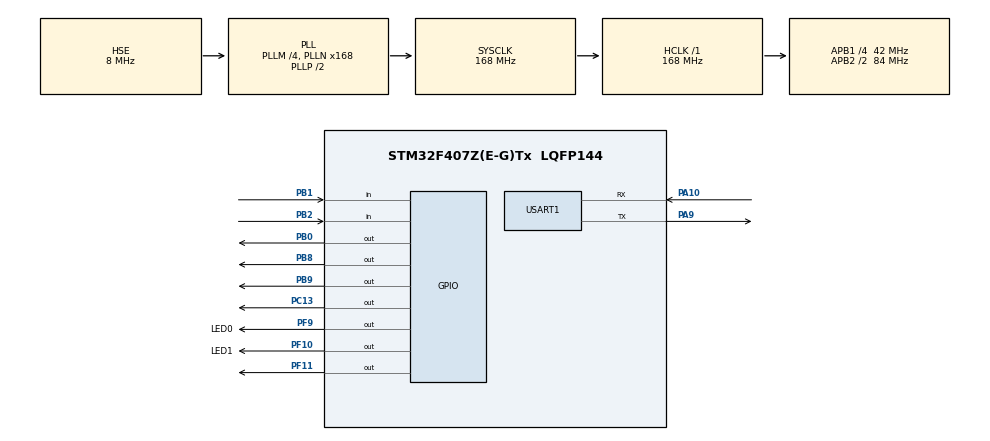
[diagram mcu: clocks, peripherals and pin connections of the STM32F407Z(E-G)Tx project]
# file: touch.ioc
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Dma.Request0=USART1_RX
Dma.Request1=USART1_TX
Dma.USART1_RX.0.Direction=DMA_PERIPH_TO_MEMORY
Dma.USART1_RX.0.FIFOMode=DMA_FIFOMODE_DISABLE
Dma.USART1_RX.0.Instance=DMA2_Stream2
Dma.USART1_RX.0.MemDataAlignment=DMA_MDATAALIGN_BYTE
Dma.USART1_RX.0.MemInc=DMA_MINC_ENABLE
Dma.USART1_RX.0.Mode=DMA_NORMAL
Dma.USART1_RX.0.PeriphDataAlignment=DMA_PDATAALIGN_BYTE
Dma.USART1_RX.0.PeriphInc=DMA_PINC_DISABLE
Dma.USART1_RX.0.Priority=DMA_PRIORITY_LOW
Dma.USART1_TX.1.Direction=DMA_MEMORY_TO_PERIPH
Dma.USART1_TX.1.FIFOMode=DMA_FIFOMODE_DISABLE
Dma.USART1_TX.1.Instance=DMA2_Stream7
Dma.USART1_TX.1.MemDataAlignment=DMA_MDATAALIGN_BYTE
Dma.USART1_TX.1.MemInc=DMA_MINC_ENABLE
Dma.USART1_TX.1.Mode=DMA_NORMAL
Dma.USART1_TX.1.PeriphDataAlignment=DMA_PDATAALIGN_BYTE
Dma.USART1_TX.1.PeriphInc=DMA_PINC_DISABLE
Dma.USART1_TX.1.Priority=DMA_PRIORITY_LOW
Mcu.Family=STM32F4
Mcu.Name=STM32F407Z(E-G)Tx
Mcu.Package=LQFP144
NVIC.DMA2_Stream2_IRQn=true\:0\:0\:false\:false\:true\:false\:true
NVIC.DMA2_Stream7_IRQn=true\:0\:0\:false\:false\:true\:false\:true
NVIC.PriorityGroup=NVIC_PRIORITYGROUP_4
NVIC.USART1_IRQn=true\:0\:0\:false\:false\:true\:true\:true
PA10.Mode=Asynchronous
PA10.Signal=USART1_RX
PA13.Mode=Serial_Wire
PA13.Signal=SYS_JTMS-SWDIO
PA14.Mode=Serial_Wire
PA14.Signal=SYS_JTCK-SWCLK
PA9.Mode=Asynchronous
PA9.Signal=USART1_TX
PB0.GPIO_PuPd=GPIO_PULLUP
PB0.GPIO_Speed=GPIO_SPEED_FREQ_VERY_HIGH
PB0.PinState=GPIO_PIN_SET
PB0.Signal=GPIO_Output
PB1.GPIO_Mode=GPIO_MODE_INPUT
PB1.GPIO_PuPd=GPIO_PULLUP
PB1.Signal=GPIO_Input
PB2.GPIO_Mode=GPIO_MODE_INPUT
PB2.GPIO_PuPd=GPIO_PULLUP
PB2.Signal=GPIO_Input
PB8.GPIO_ModeDefaultOutputPP=GPIO_MODE_OUTPUT_PP
PB8.GPIO_PuPd=GPIO_PULLUP
PB8.PinState=GPIO_PIN_SET
PB8.Signal=GPIO_Output
PB9.GPIO_ModeDefaultOutputPP=GPIO_MODE_OUTPUT_PP
PB9.GPIO_PuPd=GPIO_PULLUP
PB9.PinState=GPIO_PIN_SET
PB9.Signal=GPIO_Output
PC13-ANTI_TAMP.GPIO_PuPd=GPIO_PULLUP
PC13-ANTI_TAMP.PinState=GPIO_PIN_SET
PC13-ANTI_TAMP.Signal=GPIO_Output
PF10.GPIO_Label=LED1
PF10.GPIO_ModeDefaultOutputPP=GPIO_MODE_OUTPUT_PP
PF10.GPIO_PuPd=GPIO_PULLUP
PF10.PinState=GPIO_PIN_SET
PF10.Signal=GPIO_Output
PF11.GPIO_PuPd=GPIO_PULLUP
PF11.GPIO_Speed=GPIO_SPEED_FREQ_VERY_HIGH
PF11.PinState=GPIO_PIN_SET
PF11.Signal=GPIO_Output
PF9.GPIO_Label=LED0
PF9.GPIO_ModeDefaultOutputPP=GPIO_MODE_OUTPUT_PP
PF9.GPIO_PuPd=GPIO_PULLUP
PF9.PinState=GPIO_PIN_SET
PF9.Signal=GPIO_Output
PH0-OSC_IN.Mode=HSE-External-Oscillator
PH0-OSC_IN.Signal=RCC_OSC_IN
PH1-OSC_OUT.Mode=HSE-External-Oscillator
PH1-OSC_OUT.Signal=RCC_OSC_OUT
ProjectManager.HeapSize=0x200
ProjectManager.StackSize=0x400
ProjectManager.TargetToolchain=MDK-ARM V5.32
RCC.48MHZClocksFreq_Value=84000000
RCC.AHBFreq_Value=168000000
RCC.APB1CLKDivider=RCC_HCLK_DIV4
RCC.APB1Freq_Value=42000000
RCC.APB1TimFreq_Value=84000000
RCC.APB2CLKDivider=RCC_HCLK_DIV2
RCC.APB2Freq_Value=84000000
RCC.APB2TimFreq_Value=168000000
RCC.CortexFreq_Value=168000000
RCC.HCLKFreq_Value=168000000
RCC.HSE_VALUE=8000000
RCC.HSI_VALUE=16000000
RCC.LSE_VALUE=32768
RCC.PLLM=4
RCC.PLLN=168
RCC.PLLSourceVirtual=RCC_PLLSOURCE_HSE
RCC.SYSCLKFreq_VALUE=168000000
RCC.SYSCLKSource=RCC_SYSCLKSOURCE_PLLCLK
RCC.VCOOutputFreq_Value=336000000
USART1.VirtualMode=VM_ASYNC
board=custom

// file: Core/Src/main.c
/* USER CODE BEGIN Header */
/**
  ******************************************************************************
  * @file           : main.c
  * @brief          : Main program body
  ******************************************************************************
  * @attention
  *
  * Copyright (c) 2022 STMicroelectronics.
  * All rights reserved.
  *
  * This software is licensed under terms that can be found in the LICENSE file
  * in the root directory of this software component.
  * If no LICENSE file comes with this software, it is provided AS-IS.
  *
  ******************************************************************************
  */
/* USER CODE END Header */
#include "main.h"
#include "dma.h"
#include "usart.h"
#include "gpio.h"

/* USER CODE BEGIN Includes */
#include "log.h"
#include "lcd.h"
#include "24cxx.h"
#include "touch.h"
/* USER CODE END Includes */

/* USER CODE BEGIN PV */
const u8 TEXT_Buffer[]={"XHH_NB"};
#define SIZE sizeof(TEXT_Buffer)
/* USER CODE END PV */

void SystemClock_Config(void);

/* USER CODE BEGIN 0 */

//清空屏幕并在右上角显示"RST"
void Load_Drow_Dialog(void)
{
	LCD_Clear(WHITE);//清屏
	LCD_Set_Point_Color(BLUE);
	LCD_ShowString(lcddev.width-24,0,200,16,16,"RST");//显示清屏区域
	LCD_Set_Point_Color(RED);
}
////////////////////////////////////////////////////////////////////////////////
//电容触摸屏专有部分
//画水平线
//x0,y0:坐标
//len:线长度
//color:颜色
void gui_draw_hline(u16 x0,u16 y0,u16 len,u16 color)
{
	if(len==0)return;
	LCD_Fill(x0,y0,x0+len-1,y0,color);
}
//画实心圆
//x0,y0:坐标
//r:半径
//color:颜色
void gui_fill_circle(u16 x0,u16 y0,u16 r,u16 color)
{
	u32 i;
	u32 imax = ((u32)r*707)/1000+1;
	u32 sqmax = (u32)r*(u32)r+(u32)r/2;
	u32 x=r;
	gui_draw_hline(x0-r,y0,2*r,color);
	for (i=1;i<=imax;i++)
	{
		if ((i*i+x*x)>sqmax)// draw lines from outside
		{
 			if (x>imax)
			{
				gui_draw_hline (x0-i+1,y0+x,2*(i-1),color);
				gui_draw_hline (x0-i+1,y0-x,2*(i-1),color);
			}
			x--;
		}
		// draw lines from inside (center)
		gui_draw_hline(x0-x,y0+i,2*x,color);
		gui_draw_hline(x0-x,y0-i,2*x,color);
	}
}
//两个数之差的绝对值
//x1,x2：需取差值的两个数
//返回值：|x1-x2|
u16 my_abs(u16 x1,u16 x2)
{
	if(x1>x2)return x1-x2;
	else return x2-x1;
}
//画一条粗线
//(x1,y1),(x2,y2):线条的起始坐标
//size：线条的粗细程度
//color：线条的颜色
void lcd_draw_bline(u16 x1, u16 y1, u16 x2, u16 y2,u8 size,u16 color)
{
	u16 t;
	int xerr=0,yerr=0,delta_x,delta_y,distance;
	int incx,incy,uRow,uCol;
	if(x1<size|| x2<size||y1<size|| y2<size)return;
	delta_x=x2-x1; //计算坐标增量
	delta_y=y2-y1;
	uRow=x1;
	uCol=y1;
	if(delta_x>0)incx=1; //设置单步方向
	else if(delta_x==0)incx=0;//垂直线
	else {incx=-1;delta_x=-delta_x;}
	if(delta_y>0)incy=1;
	else if(delta_y==0)incy=0;//水平线
	else{incy=-1;delta_y=-delta_y;}
	if( delta_x>delta_y)distance=delta_x; //选取基本增量坐标轴
	else distance=delta_y;
	for(t=0;t<=distance+1;t++ )//画线输出
	{
		gui_fill_circle(uRow,uCol,size,color);//画点
		xerr+=delta_x ;
		yerr+=delta_y ;
		if(xerr>distance)
		{
			xerr-=distance;
			uRow+=incx;
		}
		if(yerr>distance)
		{
			yerr-=distance;
			uCol+=incy;
		}
	}
}
////////////////////////////////////////////////////////////////////////////////
 //5个触控点的颜色(电容触摸屏用)
//const u16 POINT_COLOR_TBL[OTT_MAX_TOUCH]={RED,GREEN,BLUE,BROWN,GRED};
//电阻触摸屏测试函数
void rtp_test(void)
{
//	u8 key;
	u8 i=0;
	while(1)
	{
//	 	key=KEY_Scan(0);
		tp_dev.scan(0);
		if(tp_dev.sta&TP_PRES_DOWN)			//触摸屏被按下
		{
		 	if(tp_dev.x[0]<lcddev.width&&tp_dev.y[0]<lcddev.height)
			{
				if(tp_dev.x[0]>(lcddev.width-24)&&tp_dev.y[0]<16)Load_Drow_Dialog();//清除
				else TP_Draw_Big_Point(tp_dev.x[0],tp_dev.y[0],RED);		//画图
			}
		}else HAL_Delay(10);	//没有按键按下的时候
//		if(key==KEY0_PRES)	//KEY0按下,则执行校准程序
//		{
//			LCD_Clear(WHITE);	//清屏
//		    TP_Adjust();  		//屏幕校准
//			TP_Save_Adjdata();
//			Load_Drow_Dialog();
//		}
		i++;
		if(i%100==0)HAL_GPIO_TogglePin(LED1_GPIO_Port,LED1_Pin);//DS0闪烁
	}
}
//电容触摸屏测试函数
//void ctp_test(void)
//{
//	u8 t=0;
//	u8 i=0;
// 	u16 lastpos[5][2];		//最后一次的数据
//	while(1)
//	{
//		tp_dev.scan(0);
//		for(t=0;t<OTT_MAX_TOUCH;t++)
//		{
//			if((tp_dev.sta)&(1<<t))
//			{
//				if(tp_dev.x[t]<lcddev.width&&tp_dev.y[t]<lcddev.height)
//				{
//					if(lastpos[t][0]==0XFFFF)
//					{
//						lastpos[t][0] = tp_dev.x[t];
//						lastpos[t][1] = tp_dev.y[t];
//					}
//					lcd_draw_bline(lastpos[t][0],lastpos[t][1],tp_dev.x[t],tp_dev.y[t],2,POINT_COLOR_TBL[t]);//画线
//					lastpos[t][0]=tp_dev.x[t];
//					lastpos[t][1]=tp_dev.y[t];
//					if(tp_dev.x[t]>(lcddev.width-24)&&tp_dev.y[t]<20)
//					{
//						Load_Drow_Dialog();//清除
//					}
//				}
//			}else lastpos[t][0]=0XFFFF;
//		}
//
//		delay_ms(5);i++;
//		if(i%20==0)LED0=!LED0;
//	}
//}
/* USER CODE END 0 */

int main(void)
{
  /* USER CODE BEGIN 1 */

	u8 datatemp[SIZE];
  /* USER CODE END 1 */

  /* MCU Configuration--------------------------------------------------------*/

  /* Reset of all peripherals, Initializes the Flash interface and the Systick. */
  HAL_Init();

  /* Configure the system clock */
  SystemClock_Config();

  /* Initialize all configured peripherals */
  MX_GPIO_Init();
  MX_DMA_Init();
  MX_USART1_UART_Init();
  /* USER CODE BEGIN 2 */
	LCD_Init();

	LCD_Clear(WHITE);

	LOGE("XHH\r\n");

	tp_dev.init();				//触摸屏初始化
 	LCD_Set_Point_Color(RED);//设置字体为红色
	LCD_ShowString(30,50,200,16,16,"Explorer STM32F4");
	LCD_ShowString(30,70,200,16,16,"TOUCH TEST");
	LCD_ShowString(30,90,200,16,16,"ATOM@ALIENTEK");
	LCD_ShowString(30,110,200,16,16,"2014/5/7");
   	if(tp_dev.touchtype!=0XFF)LCD_ShowString(30,130,200,16,16,"Press KEY0 to Adjust");//电阻屏才显示
	HAL_Delay(1500);
 	Load_Drow_Dialog();

	rtp_test(); 					//电阻屏测试
// 	while(AT24CXX_Check())//检测不到24c02
//	{
//		LCD_ShowString(30,150,200,16,16,"24C02 Check Failed!");
//		HAL_Delay(500);
//		LCD_ShowString(30,150,200,16,16,"Please Check!      ");
//		HAL_Delay(500);
//		HAL_GPIO_TogglePin(LED0_GPIO_Port,LED0_Pin);//DS0闪烁
//	}
//	LCD_ShowString(30,150,200,16,16,"24C02 Ready!");
//
//
//
//	LCD_ShowString(30,170,200,16,16,"Start Read 24C02.... ");
//	AT24CXX_Read(0,datatemp,SIZE);
//	LCD_ShowString(30,170,200,16,16,"The Data Readed Is:  ");//提示传送完成
//	LCD_ShowString(30,190,200,16,16,datatemp);//显示读到的字符串
  /* USER CODE END 2 */

  /* Infinite loop */
  /* USER CODE BEGIN WHILE */
  while (1)
  {
		HAL_Delay(200);
		HAL_GPIO_TogglePin(LED0_GPIO_Port,LED0_Pin);//DS0闪烁
    /* USER CODE END WHILE */

  }
}

void SystemClock_Config(void)
{
  RCC_OscInitTypeDef RCC_OscInitStruct = {0};
  RCC_ClkInitTypeDef RCC_ClkInitStruct = {0};

  /** Configure the main internal regulator output voltage
  */
  __HAL_RCC_PWR_CLK_ENABLE();
  __HAL_PWR_VOLTAGESCALING_CONFIG(PWR_REGULATOR_VOLTAGE_SCALE1);
  /** Initializes the RCC Oscillators according to the specified parameters
  * in the RCC_OscInitTypeDef structure.
  */
  RCC_OscInitStruct.OscillatorType = RCC_OSCILLATORTYPE_HSE;
  RCC_OscInitStruct.HSEState = RCC_HSE_ON;
  RCC_OscInitStruct.PLL.PLLState = RCC_PLL_ON;
  RCC_OscInitStruct.PLL.PLLSource = RCC_PLLSOURCE_HSE;
  RCC_OscInitStruct.PLL.PLLM = 4;
  RCC_OscInitStruct.PLL.PLLN = 168;
  RCC_OscInitStruct.PLL.PLLP = RCC_PLLP_DIV2;
  RCC_OscInitStruct.PLL.PLLQ = 4;
  if (HAL_RCC_OscConfig(&RCC_OscInitStruct) != HAL_OK)
  {
    Error_Handler();
  }
  /** Initializes the CPU, AHB and APB buses clocks
  */
  RCC_ClkInitStruct.ClockType = RCC_CLOCKTYPE_HCLK|RCC_CLOCKTYPE_SYSCLK
                              |RCC_CLOCKTYPE_PCLK1|RCC_CLOCKTYPE_PCLK2;
  RCC_ClkInitStruct.SYSCLKSource = RCC_SYSCLKSOURCE_PLLCLK;
  RCC_ClkInitStruct.AHBCLKDivider = RCC_SYSCLK_DIV1;
  RCC_ClkInitStruct.APB1CLKDivider = RCC_HCLK_DIV4;
  RCC_ClkInitStruct.APB2CLKDivider = RCC_HCLK_DIV2;

  if (HAL_RCC_ClockConfig(&RCC_ClkInitStruct, FLASH_LATENCY_5) != HAL_OK)
  {
    Error_Handler();
  }
}

void Error_Handler(void)
{
  __disable_irq();
  while (1)
  {
  }
}
